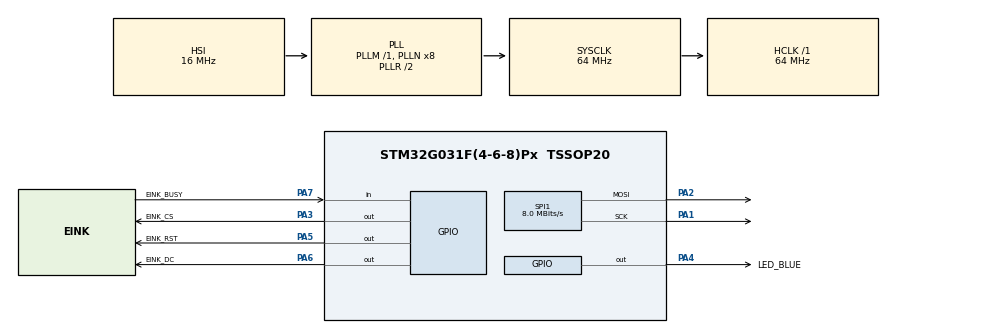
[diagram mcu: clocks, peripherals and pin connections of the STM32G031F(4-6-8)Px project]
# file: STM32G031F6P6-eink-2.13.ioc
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Dma.Request0=SPI1_TX
Dma.SPI1_TX.0.Direction=DMA_MEMORY_TO_PERIPH
Dma.SPI1_TX.0.EventEnable=DISABLE
Dma.SPI1_TX.0.Instance=DMA1_Channel1
Dma.SPI1_TX.0.MemDataAlignment=DMA_MDATAALIGN_BYTE
Dma.SPI1_TX.0.MemInc=DMA_MINC_ENABLE
Dma.SPI1_TX.0.Mode=DMA_NORMAL
Dma.SPI1_TX.0.PeriphDataAlignment=DMA_PDATAALIGN_BYTE
Dma.SPI1_TX.0.PeriphInc=DMA_PINC_DISABLE
Dma.SPI1_TX.0.Polarity=HAL_DMAMUX_REQ_GEN_RISING
Dma.SPI1_TX.0.Priority=DMA_PRIORITY_LOW
Dma.SPI1_TX.0.RequestNumber=1
Dma.SPI1_TX.0.SignalID=NONE
Dma.SPI1_TX.0.SyncEnable=DISABLE
Dma.SPI1_TX.0.SyncPolarity=HAL_DMAMUX_SYNC_NO_EVENT
Dma.SPI1_TX.0.SyncRequestNumber=1
Dma.SPI1_TX.0.SyncSignalID=NONE
Mcu.Family=STM32G0
Mcu.Name=STM32G031F(4-6-8)Px
Mcu.Package=TSSOP20
NVIC.DMA1_Channel1_IRQn=true\:0\:0\:false\:false\:true\:false\:true\:true
PA1.GPIO_Speed=GPIO_SPEED_FREQ_VERY_HIGH
PA1.Mode=TX_Only_Simplex_Unidirect_Master
PA1.Signal=SPI1_SCK
PA14-BOOT0__PA15.StandardMode=true
PA2.GPIO_Speed=GPIO_SPEED_FREQ_VERY_HIGH
PA2.Mode=TX_Only_Simplex_Unidirect_Master
PA2.Signal=SPI1_MOSI
PA3.GPIO_Label=EINK_CS
PA3.GPIO_Speed=GPIO_SPEED_FREQ_HIGH
PA3.PinState=GPIO_PIN_SET
PA3.Signal=GPIO_Output
PA4.GPIO_Label=LED_BLUE
PA4.GPIO_Speed=GPIO_SPEED_FREQ_HIGH
PA4.Signal=GPIO_Output
PA5.GPIO_Label=EINK_RST
PA5.GPIO_Speed=GPIO_SPEED_FREQ_HIGH
PA5.PinState=GPIO_PIN_SET
PA5.Signal=GPIO_Output
PA6.GPIO_Label=EINK_DC
PA6.GPIO_Speed=GPIO_SPEED_FREQ_HIGH
PA6.Signal=GPIO_Output
PA7.GPIO_Label=EINK_BUSY
PA7.Signal=GPIO_Input
PB0__PB1__PB2__PA8.StandardMode=true
PB3__PB4__PB5__PB6.StandardMode=true
PB7__PB8.StandardMode=true
PC14-OSC32_IN\ (PC14).Mode=LSE-External-Oscillator
PC14-OSC32_IN\ (PC14).Signal=RCC_OSC32_IN
PC14-OSC32_IN\ (PC14)__PB9.StandardMode=true
PC15-OSC32_OUT\ (PC15).Mode=LSE-External-Oscillator
PC15-OSC32_OUT\ (PC15).Signal=RCC_OSC32_OUT
ProjectManager.HeapSize=0x200
ProjectManager.StackSize=0x400
ProjectManager.TargetToolchain=CMake
RCC.ADCFreq_Value=64000000
RCC.AHBFreq_Value=64000000
RCC.CortexFreq_Value=64000000
RCC.EXTERNAL_CLOCK_VALUE=12288000
RCC.HCLKFreq_Value=64000000
RCC.HSE_VALUE=8000000
RCC.HSI_VALUE=16000000
RCC.SYSCLKFreq_VALUE=64000000
RCC.SYSCLKSource=RCC_SYSCLKSOURCE_PLLCLK
RCC.VCOOutputFreq_Value=128000000
SPI1.BaudRatePrescaler=SPI_BAUDRATEPRESCALER_8
SPI1.CalculateBaudRate=8.0 MBits/s
SPI1.Direction=SPI_DIRECTION_2LINES
SPI1.Mode=SPI_MODE_MASTER
SPI1.VirtualType=VM_MASTER
board=custom

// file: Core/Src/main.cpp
/* USER CODE BEGIN Header */
/**
  ******************************************************************************
  * @file           : main.c
  * @brief          : Main program body
  ******************************************************************************
  * @attention
  *
  * Copyright (c) 2026 STMicroelectronics.
  * All rights reserved.
  *
  * This software is licensed under terms that can be found in the LICENSE file
  * in the root directory of this software component.
  * If no LICENSE file comes with this software, it is provided AS-IS.
  *
  ******************************************************************************
  */
/* USER CODE END Header */
#include "main.h"
#include "dma.h"
#include "spi.h"
#include "gpio.h"

/* USER CODE BEGIN Includes */
#include "Adafruit_Eink.h"
#include "Fonts/FreeSansBold12pt7b.h"
#include "Fonts/FreeSansBold9pt7b.h"
#include "Fonts/FreeSans9pt7b.h"
/* USER CODE END Includes */

void SystemClock_Config(void);

/* USER CODE BEGIN 0 */
Adafruit_Eink display;
/* USER CODE END 0 */

int main(void)
{

  /* MCU Configuration--------------------------------------------------------*/

  /* Reset of all peripherals, Initializes the Flash interface and the Systick. */
  HAL_Init();

  /* Configure the system clock */
  SystemClock_Config();

  /* Initialize all configured peripherals */
  MX_GPIO_Init();
  MX_DMA_Init();
  MX_SPI1_Init();
  /* USER CODE BEGIN 2 */
  display.begin(&hspi1);
  display.setRotation(1);
  display.clearBuffer();

  display.firstPage();
  do
  {
    // ==========================================
    // 1. BANNER TIÊU ĐỀ (Nền Đỏ, Chữ Trắng)
    // ==========================================
    // Vẽ dải băng màu đỏ full chiều ngang ở trên cùng
    display.fillRect(0, 0, display.width(), 25, COLOR_RED);
    display.setFont(&FreeSansBold9pt7b);
    display.setTextColor(COLOR_WHITE);
    display.setCursor(10, 17);
    display.print("SMART BAGGAGE TAG");

    // ==========================================
    // 2. THÔNG TIN CHÍNH (Chữ Đen)
    // ==========================================
    display.setTextColor(COLOR_BLACK);

    // Tên chuyến bay
    display.setFont(&FreeSansBold12pt7b);
    display.setCursor(10, 60);
    display.print("FLIGHT: VN-2026");

    // Điểm đến
    display.setFont(&FreeSans9pt7b);
    display.setCursor(10, 85);
    display.print("DEST: TOKYO (HND)");

    // ==========================================
    // 3. ĐIỂM NHẤN MÀU ĐỎ (Status)
    // ==========================================
    display.setFont(&FreeSansBold9pt7b);
    display.setTextColor(COLOR_RED);
    display.setCursor(10, 110);
    display.print("PRIORITY LUGGAGE");

  } while (display.nextPage());

  display.sleep();
  /* USER CODE END 2 */

  /* Infinite loop */
  while (1)
  {

    /* USER CODE BEGIN 3 */
    HAL_GPIO_TogglePin(LED_BLUE_GPIO_Port, LED_BLUE_Pin);
    HAL_Delay(1000);
  }
  /* USER CODE END 3 */
}

void SystemClock_Config(void)
{
  RCC_OscInitTypeDef RCC_OscInitStruct = {0};
  RCC_ClkInitTypeDef RCC_ClkInitStruct = {0};

  /** Configure the main internal regulator output voltage
  */
  HAL_PWREx_ControlVoltageScaling(PWR_REGULATOR_VOLTAGE_SCALE1);

  /** Initializes the RCC Oscillators according to the specified parameters
  * in the RCC_OscInitTypeDef structure.
  */
  RCC_OscInitStruct.OscillatorType = RCC_OSCILLATORTYPE_HSI;
  RCC_OscInitStruct.HSIState = RCC_HSI_ON;
  RCC_OscInitStruct.HSIDiv = RCC_HSI_DIV1;
  RCC_OscInitStruct.HSICalibrationValue = RCC_HSICALIBRATION_DEFAULT;
  RCC_OscInitStruct.PLL.PLLState = RCC_PLL_ON;
  RCC_OscInitStruct.PLL.PLLSource = RCC_PLLSOURCE_HSI;
  RCC_OscInitStruct.PLL.PLLM = RCC_PLLM_DIV1;
  RCC_OscInitStruct.PLL.PLLN = 8;
  RCC_OscInitStruct.PLL.PLLP = RCC_PLLP_DIV2;
  RCC_OscInitStruct.PLL.PLLQ = RCC_PLLQ_DIV2;
  RCC_OscInitStruct.PLL.PLLR = RCC_PLLR_DIV2;
  if (HAL_RCC_OscConfig(&RCC_OscInitStruct) != HAL_OK)
  {
    Error_Handler();
  }

  /** Initializes the CPU, AHB and APB buses clocks
  */
  RCC_ClkInitStruct.ClockType = RCC_CLOCKTYPE_HCLK|RCC_CLOCKTYPE_SYSCLK
                              |RCC_CLOCKTYPE_PCLK1;
  RCC_ClkInitStruct.SYSCLKSource = RCC_SYSCLKSOURCE_PLLCLK;
  RCC_ClkInitStruct.AHBCLKDivider = RCC_SYSCLK_DIV1;
  RCC_ClkInitStruct.APB1CLKDivider = RCC_HCLK_DIV1;

  if (HAL_RCC_ClockConfig(&RCC_ClkInitStruct, FLASH_LATENCY_2) != HAL_OK)
  {
    Error_Handler();
  }
}

void Error_Handler(void)
{
  __disable_irq();
  while (1)
  {
  }
}
